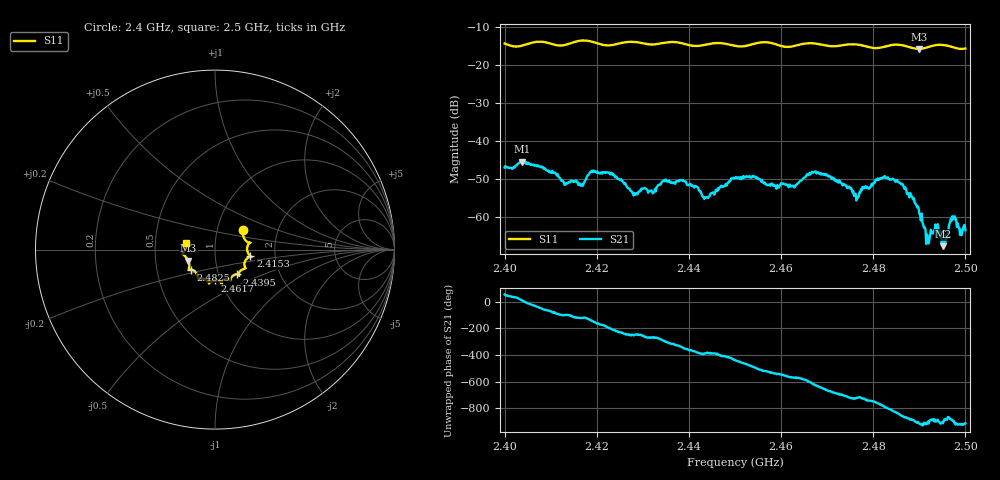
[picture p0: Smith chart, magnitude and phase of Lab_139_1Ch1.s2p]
# Hz S RI R 50
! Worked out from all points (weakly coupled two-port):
!   601 points, 2.4 GHz to 2.5 GHz, reference 50 ohm
!   highest |S21| = -45.50 dB at 2.4038 GHz (marker M1); lowest = -67.8 dB at 2.4952 GHz (marker M2)
!   lowest |S11| = -15.8 dB at 2.49 GHz (marker M3), VSWR 1.38, Z = 36.8 - j4.71 ohm
!   |S11| at or under -10 dB: start of sweep to end of sweep
!   S12 and S22 are empty: the file has one direction only
!   S11 on the Smith chart (normalised r, x): 2.4 GHz: 1.33, +0.30; 2.4153 GHz: 1.49, -0.12; 2.4395 GHz: 1.22, -0.35; 2.4617 GHz: 0.94, -0.33; 2.4825 GHz: 0.75, -0.17; 2.5 GHz: 0.72, +0.05
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2.4e9  0.1553 0.1088  0.00266 0.00354  0 0  0 0
2.403833e9  0.1715 0.0502  0.00525 0.000796  0 0  0 0
2.415333e9  0.197 -0.0372  -0.00133 -0.00259  0 0  0 0
2.416667e9  0.2037 -0.0415  -0.00138 -0.00214  0 0  0 0
2.419333e9  0.1939 -0.0406  -0.00353 -0.00196  0 0  0 0
2.428333e9  0.1693 -0.1046  -0.000758 0.00177  0 0  0 0
2.433333e9  0.133 -0.133  0.000253 0.0026  0 0  0 0
2.4395e9  0.1225 -0.1382  0.00271 0.000167  0 0  0 0
2.443833e9  0.087 -0.1631  0.00162 -0.000779  0 0  0 0
2.45e9  0.0664 -0.1644  0.000642 -0.00311  0 0  0 0
2.461667e9  0.0011 -0.1718  -0.00224 0.00096  0 0  0 0
2.466667e9  -0.0336 -0.1888  -0.00122 0.00367  0 0  0 0
2.476333e9  -0.0941 -0.1591  0.00163 -0.000109  0 0  0 0
2.4825e9  -0.1323 -0.1113  0.00127 -0.00318  0 0  0 0
2.483333e9  -0.1398 -0.1105  0.00033 -0.00313  0 0  0 0
2.4865e9  -0.1457 -0.1045  -0.00198 -0.00166  0 0  0 0
2.49e9  -0.1488 -0.0624  -0.00106 0.000266  0 0  0 0
2.491833e9  -0.1655 -0.038  -0.000532 -7.62e-06  0 0  0 0
2.493833e9  -0.1804 -0.0244  -0.000651 -0.000117  0 0  0 0
2.495167e9  -0.1806 -0.0204  -0.0004 7.97e-05  0 0  0 0
2.497333e9  -0.1692 -0.00616  -0.000958 -6.98e-05  0 0  0 0
2.5e9  -0.1595 0.0355  -0.000647 0.000137  0 0  0 0
